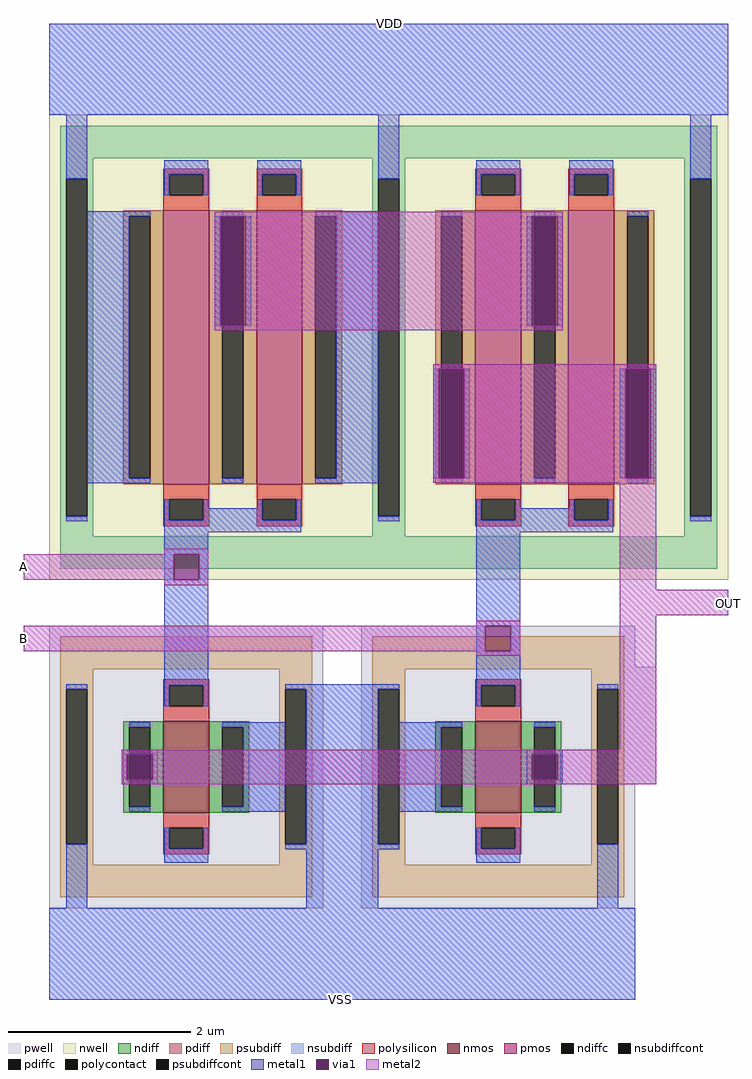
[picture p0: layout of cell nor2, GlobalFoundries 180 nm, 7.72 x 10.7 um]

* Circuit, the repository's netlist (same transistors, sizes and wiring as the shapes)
* NGSPICE file created from nor2.ext - technology: gf180mcuD

.subckt nfet_03v3_EKBWUP a_n138_n100# a_n50_n192# a_50_n100# a_n276_n286#
X0 a_50_n100# a_n50_n192# a_n138_n100# a_n276_n286# nfet_03v3 ad=0.44p pd=2.88u as=0.44p ps=2.88u w=1u l=0.5u
.ends

.subckt pfet_03v3_LJLJK4 a_152_n300# a_n240_n300# w_n402_n510# a_n52_n300# a_52_n392#
+ a_n152_n392#
X0 a_152_n300# a_52_n392# a_n52_n300# w_n402_n510# pfet_03v3 ad=1.32p pd=6.88u as=0.78p ps=3.52u w=3u l=0.5u
X1 a_n52_n300# a_n152_n392# a_n240_n300# w_n402_n510# pfet_03v3 ad=0.78p pd=3.52u as=1.32p ps=6.88u w=3u l=0.5u
.ends

.subckt nor2 VDD VSS OUT A B
Xnfet_03v3_EKBWUP_0 VSS B OUT VSS nfet_03v3_EKBWUP
XXM1 OUT A VSS VSS nfet_03v3_EKBWUP
XXM3 VDD VDD VDD m1_2142_237# A A pfet_03v3_LJLJK4
Xpfet_03v3_LJLJK4_0 OUT OUT VDD m1_2142_237# B B pfet_03v3_LJLJK4
.ends

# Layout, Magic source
magic
tech gf180mcuD
magscale 1 10
<< nwell >>
rect 1780 -320 3268 700
<< pwell >>
rect 1780 -1040 2380 -420
rect 2464 -510 3064 -420
rect 2464 -768 3110 -510
rect 2464 -1040 3064 -768
<< nmos >>
rect 2030 -830 2130 -630
rect 2714 -830 2814 -630
<< pmos >>
rect 2030 -110 2130 490
rect 2234 -110 2334 490
rect 2714 -110 2814 490
rect 2918 -110 3018 490
<< ndiff >>
rect 1942 -643 2030 -630
rect 1942 -817 1955 -643
rect 2001 -817 2030 -643
rect 1942 -830 2030 -817
rect 2130 -643 2218 -630
rect 2130 -817 2159 -643
rect 2205 -817 2218 -643
rect 2130 -830 2218 -817
rect 2626 -643 2714 -630
rect 2626 -817 2639 -643
rect 2685 -817 2714 -643
rect 2626 -830 2714 -817
rect 2814 -643 2902 -630
rect 2814 -817 2843 -643
rect 2889 -817 2902 -643
rect 2814 -830 2902 -817
<< pdiff >>
rect 1942 477 2030 490
rect 1942 -97 1955 477
rect 2001 -97 2030 477
rect 1942 -110 2030 -97
rect 2130 477 2234 490
rect 2130 -97 2159 477
rect 2205 -97 2234 477
rect 2130 -110 2234 -97
rect 2334 477 2422 490
rect 2334 -97 2363 477
rect 2409 -97 2422 477
rect 2334 -110 2422 -97
rect 2626 477 2714 490
rect 2626 -97 2639 477
rect 2685 -97 2714 477
rect 2626 -110 2714 -97
rect 2814 477 2918 490
rect 2814 -97 2843 477
rect 2889 -97 2918 477
rect 2814 -110 2918 -97
rect 3018 477 3106 490
rect 3018 -97 3047 477
rect 3093 -97 3106 477
rect 3018 -110 3106 -97
<< ndiffc >>
rect 1955 -817 2001 -643
rect 2159 -817 2205 -643
rect 2639 -817 2685 -643
rect 2843 -817 2889 -643
<< pdiffc >>
rect 1955 -97 2001 477
rect 2159 -97 2205 477
rect 2363 -97 2409 477
rect 2639 -97 2685 477
rect 2843 -97 2889 477
rect 3047 -97 3093 477
<< psubdiff >>
rect 1804 -516 2356 -444
rect 1804 -560 1876 -516
rect 1804 -900 1817 -560
rect 1863 -900 1876 -560
rect 2284 -560 2356 -516
rect 1804 -944 1876 -900
rect 2284 -900 2297 -560
rect 2343 -900 2356 -560
rect 2284 -944 2356 -900
rect 1804 -1016 2356 -944
rect 2488 -516 3040 -444
rect 2488 -560 2560 -516
rect 2488 -900 2501 -560
rect 2547 -900 2560 -560
rect 2968 -560 3040 -516
rect 2488 -944 2560 -900
rect 2968 -900 2981 -560
rect 3027 -900 3040 -560
rect 2968 -944 3040 -900
rect 2488 -1016 3040 -944
<< nsubdiff >>
rect 1804 604 3244 676
rect 1804 560 1876 604
rect 1804 -180 1817 560
rect 1863 -180 1876 560
rect 2488 560 2560 604
rect 1804 -224 1876 -180
rect 2488 -180 2501 560
rect 2547 -180 2560 560
rect 3172 560 3244 604
rect 2488 -224 2560 -180
rect 3172 -180 3185 560
rect 3231 -180 3244 560
rect 3172 -224 3244 -180
rect 1804 -296 3244 -224
<< psubdiffcont >>
rect 1817 -900 1863 -560
rect 2297 -900 2343 -560
rect 2501 -900 2547 -560
rect 2981 -900 3027 -560
<< nsubdiffcont >>
rect 1817 -180 1863 560
rect 2501 -180 2547 560
rect 3185 -180 3231 560
<< polysilicon >>
rect 2030 569 2130 582
rect 2030 523 2043 569
rect 2117 523 2130 569
rect 2030 490 2130 523
rect 2234 569 2334 582
rect 2234 523 2247 569
rect 2321 523 2334 569
rect 2234 490 2334 523
rect 2030 -143 2130 -110
rect 2030 -189 2043 -143
rect 2117 -189 2130 -143
rect 2030 -202 2130 -189
rect 2234 -143 2334 -110
rect 2234 -189 2247 -143
rect 2321 -189 2334 -143
rect 2234 -202 2334 -189
rect 2714 569 2814 582
rect 2714 523 2727 569
rect 2801 523 2814 569
rect 2714 490 2814 523
rect 2918 569 3018 582
rect 2918 523 2931 569
rect 3005 523 3018 569
rect 2918 490 3018 523
rect 2714 -143 2814 -110
rect 2714 -189 2727 -143
rect 2801 -189 2814 -143
rect 2714 -202 2814 -189
rect 2918 -143 3018 -110
rect 2918 -189 2931 -143
rect 3005 -189 3018 -143
rect 2918 -202 3018 -189
rect 2030 -551 2130 -538
rect 2030 -597 2043 -551
rect 2117 -597 2130 -551
rect 2030 -630 2130 -597
rect 2030 -863 2130 -830
rect 2030 -909 2043 -863
rect 2117 -909 2130 -863
rect 2030 -922 2130 -909
rect 2714 -551 2814 -538
rect 2714 -597 2727 -551
rect 2801 -597 2814 -551
rect 2714 -630 2814 -597
rect 2714 -863 2814 -830
rect 2714 -909 2727 -863
rect 2801 -909 2814 -863
rect 2714 -922 2814 -909
<< polycontact >>
rect 2043 523 2117 569
rect 2247 523 2321 569
rect 2043 -189 2117 -143
rect 2247 -189 2321 -143
rect 2727 523 2801 569
rect 2931 523 3005 569
rect 2727 -189 2801 -143
rect 2931 -189 3005 -143
rect 2043 -597 2117 -551
rect 2043 -909 2117 -863
rect 2727 -597 2801 -551
rect 2727 -909 2801 -863
<< metal1 >>
rect 1780 700 3268 900
rect 1817 560 1863 700
rect 2032 569 2128 600
rect 2032 523 2043 569
rect 2117 523 2128 569
rect 2236 569 2332 600
rect 2236 523 2247 569
rect 2321 523 2332 569
rect 2501 560 2547 700
rect 1863 477 2001 488
rect 2159 477 2205 488
rect 2363 477 2501 488
rect 1863 -97 1955 477
rect 2142 237 2154 477
rect 2210 237 2222 477
rect 1863 -108 2001 -97
rect 2159 -108 2205 -97
rect 2409 -97 2501 477
rect 2363 -108 2501 -97
rect 1817 -191 1863 -180
rect 2032 -189 2043 -143
rect 2117 -163 2128 -143
rect 2236 -163 2247 -143
rect 2117 -189 2247 -163
rect 2321 -189 2332 -143
rect 2032 -216 2332 -189
rect 2716 569 2812 600
rect 2716 523 2727 569
rect 2801 523 2812 569
rect 2920 569 3016 600
rect 2920 523 2931 569
rect 3005 523 3016 569
rect 3185 560 3231 700
rect 2639 477 2685 488
rect 2843 477 2889 488
rect 3047 477 3093 488
rect 2826 237 2838 477
rect 2894 237 2906 477
rect 2622 -97 2634 143
rect 2690 -97 2702 143
rect 3030 -97 3042 143
rect 3098 -97 3110 143
rect 2639 -108 2685 -97
rect 2843 -108 2889 -97
rect 3047 -108 3093 -97
rect 2501 -191 2547 -180
rect 2716 -189 2727 -143
rect 2801 -163 2812 -143
rect 2920 -163 2931 -143
rect 2801 -189 2931 -163
rect 3005 -189 3016 -143
rect 2716 -216 3016 -189
rect 3185 -191 3231 -180
rect 2032 -264 2128 -216
rect 2032 -320 2052 -264
rect 2108 -320 2128 -264
rect 1817 -560 1863 -549
rect 2032 -551 2128 -320
rect 2716 -420 2812 -216
rect 2716 -476 2736 -420
rect 2792 -476 2812 -420
rect 2032 -597 2043 -551
rect 2117 -597 2128 -551
rect 2297 -560 2547 -549
rect 1955 -643 2001 -632
rect 1938 -702 1955 -692
rect 2159 -643 2297 -632
rect 2001 -702 2018 -692
rect 1938 -758 1950 -702
rect 2006 -758 2018 -702
rect 1938 -768 1955 -758
rect 2001 -768 2018 -758
rect 1955 -828 2001 -817
rect 2205 -817 2297 -643
rect 2159 -828 2297 -817
rect 1817 -1040 1863 -900
rect 2032 -909 2043 -863
rect 2117 -909 2128 -863
rect 2032 -940 2128 -909
rect 2343 -900 2501 -560
rect 2716 -551 2812 -476
rect 2716 -597 2727 -551
rect 2801 -597 2812 -551
rect 2981 -560 3027 -549
rect 2547 -643 2685 -632
rect 2547 -817 2639 -643
rect 2843 -643 2889 -632
rect 2826 -702 2843 -692
rect 2889 -702 2906 -692
rect 2826 -758 2838 -702
rect 2894 -758 2906 -702
rect 2826 -768 2843 -758
rect 2547 -828 2685 -817
rect 2889 -768 2906 -758
rect 2843 -828 2889 -817
rect 2297 -911 2547 -900
rect 2716 -909 2727 -863
rect 2801 -909 2812 -863
rect 2343 -1040 2501 -911
rect 2716 -940 2812 -909
rect 2981 -1040 3027 -900
rect 1780 -1240 3064 -1040
<< via1 >>
rect 2154 237 2159 477
rect 2159 237 2205 477
rect 2205 237 2210 477
rect 2838 237 2843 477
rect 2843 237 2889 477
rect 2889 237 2894 477
rect 2634 -97 2639 143
rect 2639 -97 2685 143
rect 2685 -97 2690 143
rect 3042 -97 3047 143
rect 3047 -97 3093 143
rect 3093 -97 3098 143
rect 2052 -320 2108 -264
rect 2736 -476 2792 -420
rect 1950 -758 1955 -702
rect 1955 -758 2001 -702
rect 2001 -758 2006 -702
rect 2838 -758 2843 -702
rect 2843 -758 2889 -702
rect 2889 -758 2894 -702
<< metal2 >>
rect 2142 477 2906 487
rect 2142 237 2154 477
rect 2210 237 2838 477
rect 2894 237 2906 477
rect 2142 227 2906 237
rect 2622 143 3110 153
rect 2622 -97 2634 143
rect 2690 -97 3042 143
rect 3098 -97 3110 143
rect 2622 -107 3110 -97
rect 2032 -264 2128 -252
rect 1724 -320 2052 -264
rect 2108 -320 2128 -264
rect 2032 -332 2128 -320
rect 3030 -342 3110 -107
rect 3030 -398 3268 -342
rect 2716 -420 2812 -410
rect 1724 -476 2736 -420
rect 2792 -476 2812 -420
rect 2716 -486 2812 -476
rect 3030 -692 3110 -398
rect 1938 -702 3110 -692
rect 1938 -758 1950 -702
rect 2006 -758 2838 -702
rect 2894 -758 3110 -702
rect 1938 -768 3110 -758
<< labels >>
rlabel metal1 2525 900 2525 900 1 VDD
port 0 n
rlabel metal1 2418 -1240 2418 -1240 5 VSS
port 1 s
rlabel metal2 3268 -371 3268 -371 3 OUT
port 2 e
rlabel metal2 1724 -291 1724 -291 7 A
port 3 w
rlabel metal2 1724 -448 1724 -448 7 B
port 4 w
<< end >>
